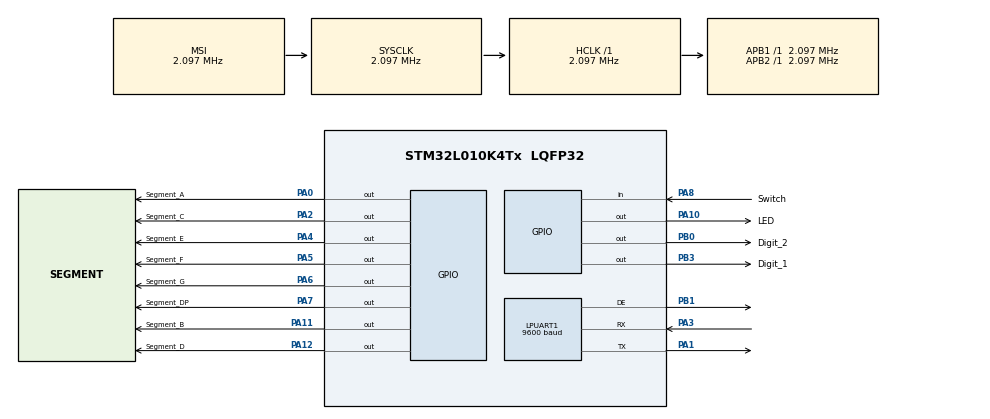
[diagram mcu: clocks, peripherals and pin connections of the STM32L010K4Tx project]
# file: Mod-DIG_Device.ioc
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LPUART1.BaudRate=9600
LPUART1.WordLength=UART_WORDLENGTH_8B
Mcu.Family=STM32L0
Mcu.Name=STM32L010K4Tx
Mcu.Package=LQFP32
NVIC.LPUART1_IRQn=true\:0\:0\:false\:false\:true\:true\:true\:true
PA0-CK_IN.GPIO_Label=Segment_A
PA0-CK_IN.Signal=GPIO_Output
PA1.Mode=Asynchronous
PA1.Signal=LPUART1_TX
PA10.GPIO_Label=LED
PA10.Signal=GPIO_Output
PA11.GPIO_Label=Segment_B
PA11.Signal=GPIO_Output
PA12.GPIO_Label=Segment_D
PA12.Signal=GPIO_Output
PA13.Mode=Serial_Wire
PA13.Signal=SYS_SWDIO
PA14.Mode=Serial_Wire
PA14.Signal=SYS_SWCLK
PA2.GPIO_Label=Segment_C
PA2.Signal=GPIO_Output
PA3.Mode=Asynchronous
PA3.Signal=LPUART1_RX
PA4.GPIO_Label=Segment_E
PA4.Signal=GPIO_Output
PA5.GPIO_Label=Segment_F
PA5.Signal=GPIO_Output
PA6.GPIO_Label=Segment_G
PA6.Signal=GPIO_Output
PA7.GPIO_Label=Segment_DP
PA7.Signal=GPIO_Output
PA8.GPIO_Label=Switch
PA8.Signal=GPIO_Input
PB0.GPIO_Label=Digit_2
PB0.Signal=GPIO_Output
PB1.Mode=Hardware Flow Control (RS485)
PB1.Signal=LPUART1_DE
PB3.GPIO_Label=Digit_1
PB3.Signal=GPIO_Output
ProjectManager.HeapSize=0x200
ProjectManager.StackSize=0x400
ProjectManager.TargetToolchain=EWARM V8.32
RCC.AHBFreq_Value=2097000
RCC.APB1Freq_Value=2097000
RCC.APB1TimFreq_Value=2097000
RCC.APB2Freq_Value=2097000
RCC.APB2TimFreq_Value=2097000
RCC.HSE_VALUE=8000000
RCC.HSI16_VALUE=16000000
RCC.HSI_VALUE=16000000
RCC.LSE_VALUE=32768
RCC.MSI_VALUE=2097000
RCC.SYSCLKFreq_VALUE=2097000
RCC.VCOOutputFreq_Value=48000000
board=custom

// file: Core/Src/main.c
/* USER CODE BEGIN Header */
/**
  ******************************************************************************
  * @file           : main.c
  * @brief          : Main program body
  ******************************************************************************
  * @attention
  *
  * <h2><center>&copy; Copyright (c) 2022 STMicroelectronics.
  * All rights reserved.</center></h2>
  *
  * This software component is licensed by ST under BSD 3-Clause license,
  * the "License"; You may not use this file except in compliance with the
  * License. You may obtain a copy of the License at:
  *                        opensource.org/licenses/BSD-3-Clause
  *
  ******************************************************************************
  */
/* USER CODE END Header */
#include "main.h"

/* USER CODE BEGIN Includes */
#include "scheduler.h"
#include "serial_user.h"
/* USER CODE END Includes */

UART_HandleTypeDef hlpuart1;

/* USER CODE BEGIN PV */
// scheduler stuff
extern uint8_t ten_mS_Flag;
extern uint8_t twentyfive_mS_Flag;
extern uint8_t hundred_mS_Flag;
extern uint8_t one_S_Flag;

// Keyboard
uint8_t button = true;
uint8_t lastButton = true;

// Seven Segment Stuff
volatile uint8_t segmentNumber = 0;
volatile uint8_t digitToggle = 0;

uint8_t digit1Value = 0;
uint8_t digit2Value = 0;
uint8_t digit1Segments = 0;
uint8_t digit2Segments = 0;
const uint8_t Num_2_Seg[16] = {0xFC, 0x60, 0xDA, 0xF2, 0x66, 0xB6, 0xBE, 0xE0, 0xFE, 0xF6, 0xEE, 0x3E, 0x9C, 0x7A, 0x9E, 0x8E};
uint8_t dpOn = 0;

// variables
uint8_t counter = 0;

// UART Test
uint8_t charCounter = 0;
uint8_t char2Send[2] = {0, 0};

/* USER CODE END PV */

void SystemClock_Config(void);
static void MX_GPIO_Init(void);
static void MX_LPUART1_UART_Init(void);
/* USER CODE BEGIN PFP */
void ParseToDigits(uint8_t _value, uint8_t _dpStatus);
void UpdateDisplay(void);
void InitSevenSegDisplay(void);

/* USER CODE END PFP */

int main(void)
{

  /* MCU Configuration--------------------------------------------------------*/

  /* Reset of all peripherals, Initializes the Flash interface and the Systick. */
  HAL_Init();

  /* Configure the system clock */
  SystemClock_Config();

  /* Initialize all configured peripherals */
  MX_GPIO_Init();
  MX_LPUART1_UART_Init();
  /* USER CODE BEGIN 2 */

  LL_LPUART_EnableIT_RXNE(LPUART1);

  /* USER CODE END 2 */

  /* Infinite loop */
  /* USER CODE BEGIN WHILE */
  while (1)
  {
    //---------------------------------
    // 10mS Tasks
    if (ten_mS_Flag) {
      ten_mS_Flag = false;

#if(!seg_test)
      UpdateDisplay();
#endif
    }  // end of 10mS Tasks
    //---------------------------------

    //---------------------------------
    // 25mS Tasks
    if (twentyfive_mS_Flag) {
      twentyfive_mS_Flag = false;

    }  // end of 25mS Tasks
    //---------------------------------

    //---------------------------------
    // 100mS Tasks
    if (hundred_mS_Flag) {
      hundred_mS_Flag = false;

      button = HAL_GPIO_ReadPin(SW_IN);
      if ((button == 0) && (lastButton == 1)) {
        // do some stuff...
        dpOn++;
        if (dpOn >= 4)
          dpOn = 0;
      }

      lastButton = button;

    }  // end of 100mS Tasks
    //---------------------------------

    //---------------------------------
    // 1 Sec Tasks
    if (one_S_Flag) {
      one_S_Flag = false;

//      HAL_GPIO_TogglePin(GPIOA,GPIO_PIN_10);
      HAL_GPIO_TogglePin(LED_OUT);

#if (seg_test)
      digitToggle ^= 1;

      if (digitToggle == 1) {
        HAL_GPIO_WritePin(Digit_1, Digit_ON);
        HAL_GPIO_WritePin(Digit_2, Digit_OFF);
      }
      else {
        HAL_GPIO_WritePin(Digit_1, Digit_OFF);
        HAL_GPIO_WritePin(Digit_2, Digit_ON);
      }

      if (digitToggle == 1) {
        switch (segmentNumber) {
        case 0:
          HAL_GPIO_WritePin(Seg_A, Seg_ON);
          HAL_GPIO_WritePin(Seg_DP, Seg_OFF);
          break;
        case 1:
          HAL_GPIO_WritePin(Seg_B, Seg_ON);
          HAL_GPIO_WritePin(Seg_A, Seg_OFF);
          break;
        case 2:
          HAL_GPIO_WritePin(Seg_C, Seg_ON);
          HAL_GPIO_WritePin(Seg_B, Seg_OFF);
          break;
        case 3:
          HAL_GPIO_WritePin(Seg_D, Seg_ON);
          HAL_GPIO_WritePin(Seg_C, Seg_OFF);
          break;
        case 4:
          HAL_GPIO_WritePin(Seg_E, Seg_ON);
          HAL_GPIO_WritePin(Seg_D, Seg_OFF);
          break;
        case 5:
          HAL_GPIO_WritePin(Seg_F, Seg_ON);
          HAL_GPIO_WritePin(Seg_E, Seg_OFF);
          break;
        case 6:
          HAL_GPIO_WritePin(Seg_G, Seg_ON);
          HAL_GPIO_WritePin(Seg_F, Seg_OFF);
          break;
        case 7:
          HAL_GPIO_WritePin(Seg_DP, Seg_ON);
          HAL_GPIO_WritePin(Seg_G, Seg_OFF);
          break;
        }

        segmentNumber++;
        if (segmentNumber >= 8) segmentNumber = 0;
      }
#else
      counter++;

      ParseToDigits(counter, dpOn);
#endif

//      char2Send[0] = charCounter++ + 0x40;
//      HAL_UART_Transmit(&hlpuart1, char2Send, 1, 1000);
//
//      if (charCounter > 0x3A) {
//        charCounter = 0;
//        char2Send[0] = '\n';
//        HAL_UART_Transmit(&hlpuart1, char2Send, 1, 1000);
//      }

    } // end of 1Sec Tasks
    //---------------------------------

    //---------------------------------
    // Every time through the loop

    // end Every time through the loop
    //---------------------------------
    /* USER CODE END WHILE */

  }
}

void SystemClock_Config(void)
{
  RCC_OscInitTypeDef RCC_OscInitStruct = {0};
  RCC_ClkInitTypeDef RCC_ClkInitStruct = {0};
  RCC_PeriphCLKInitTypeDef PeriphClkInit = {0};

  /** Configure the main internal regulator output voltage
  */
  __HAL_PWR_VOLTAGESCALING_CONFIG(PWR_REGULATOR_VOLTAGE_SCALE1);
  /** Initializes the RCC Oscillators according to the specified parameters
  * in the RCC_OscInitTypeDef structure.
  */
  RCC_OscInitStruct.OscillatorType = RCC_OSCILLATORTYPE_MSI;
  RCC_OscInitStruct.MSIState = RCC_MSI_ON;
  RCC_OscInitStruct.MSICalibrationValue = 0;
  RCC_OscInitStruct.MSIClockRange = RCC_MSIRANGE_5;
  RCC_OscInitStruct.PLL.PLLState = RCC_PLL_NONE;
  if (HAL_RCC_OscConfig(&RCC_OscInitStruct) != HAL_OK)
  {
    Error_Handler();
  }
  /** Initializes the CPU, AHB and APB buses clocks
  */
  RCC_ClkInitStruct.ClockType = RCC_CLOCKTYPE_HCLK|RCC_CLOCKTYPE_SYSCLK
                              |RCC_CLOCKTYPE_PCLK1|RCC_CLOCKTYPE_PCLK2;
  RCC_ClkInitStruct.SYSCLKSource = RCC_SYSCLKSOURCE_MSI;
  RCC_ClkInitStruct.AHBCLKDivider = RCC_SYSCLK_DIV1;
  RCC_ClkInitStruct.APB1CLKDivider = RCC_HCLK_DIV1;
  RCC_ClkInitStruct.APB2CLKDivider = RCC_HCLK_DIV1;

  if (HAL_RCC_ClockConfig(&RCC_ClkInitStruct, FLASH_LATENCY_0) != HAL_OK)
  {
    Error_Handler();
  }
  PeriphClkInit.PeriphClockSelection = RCC_PERIPHCLK_LPUART1;
  PeriphClkInit.Lpuart1ClockSelection = RCC_LPUART1CLKSOURCE_PCLK1;
  if (HAL_RCCEx_PeriphCLKConfig(&PeriphClkInit) != HAL_OK)
  {
    Error_Handler();
  }
}

static void MX_LPUART1_UART_Init(void)
{

  hlpuart1.Instance = LPUART1;
  hlpuart1.Init.BaudRate = 9600;
  hlpuart1.Init.WordLength = UART_WORDLENGTH_8B;
  hlpuart1.Init.StopBits = UART_STOPBITS_1;
  hlpuart1.Init.Parity = UART_PARITY_NONE;
  hlpuart1.Init.Mode = UART_MODE_TX_RX;
  hlpuart1.Init.HwFlowCtl = UART_HWCONTROL_NONE;
  hlpuart1.Init.OneBitSampling = UART_ONE_BIT_SAMPLE_DISABLE;
  hlpuart1.AdvancedInit.AdvFeatureInit = UART_ADVFEATURE_NO_INIT;
  if (HAL_RS485Ex_Init(&hlpuart1, UART_DE_POLARITY_HIGH, 0, 0) != HAL_OK)
  {
    Error_Handler();
  }

}

static void MX_GPIO_Init(void)
{
  GPIO_InitTypeDef GPIO_InitStruct = {0};

  /* GPIO Ports Clock Enable */
  __HAL_RCC_GPIOA_CLK_ENABLE();
  __HAL_RCC_GPIOB_CLK_ENABLE();

  /*Configure GPIO pin Output Level */
  HAL_GPIO_WritePin(GPIOA, Segment_A_Pin|Segment_C_Pin|Segment_E_Pin|Segment_F_Pin
                          |Segment_G_Pin|Segment_DP_Pin|LED_Pin|Segment_B_Pin
                          |Segment_D_Pin, GPIO_PIN_RESET);

  /*Configure GPIO pin Output Level */
  HAL_GPIO_WritePin(GPIOB, Digit_2_Pin|Digit_1_Pin, GPIO_PIN_RESET);

  /*Configure GPIO pins : Segment_A_Pin Segment_C_Pin Segment_E_Pin Segment_F_Pin
                           Segment_G_Pin Segment_DP_Pin LED_Pin Segment_B_Pin
                           Segment_D_Pin */
  GPIO_InitStruct.Pin = Segment_A_Pin|Segment_C_Pin|Segment_E_Pin|Segment_F_Pin
                          |Segment_G_Pin|Segment_DP_Pin|LED_Pin|Segment_B_Pin
                          |Segment_D_Pin;
  GPIO_InitStruct.Mode = GPIO_MODE_OUTPUT_PP;
  GPIO_InitStruct.Pull = GPIO_NOPULL;
  GPIO_InitStruct.Speed = GPIO_SPEED_FREQ_LOW;
  HAL_GPIO_Init(GPIOA, &GPIO_InitStruct);

  /*Configure GPIO pins : Digit_2_Pin Digit_1_Pin */
  GPIO_InitStruct.Pin = Digit_2_Pin|Digit_1_Pin;
  GPIO_InitStruct.Mode = GPIO_MODE_OUTPUT_PP;
  GPIO_InitStruct.Pull = GPIO_NOPULL;
  GPIO_InitStruct.Speed = GPIO_SPEED_FREQ_LOW;
  HAL_GPIO_Init(GPIOB, &GPIO_InitStruct);

  /*Configure GPIO pin : Switch_Pin */
  GPIO_InitStruct.Pin = Switch_Pin;
  GPIO_InitStruct.Mode = GPIO_MODE_INPUT;
  GPIO_InitStruct.Pull = GPIO_NOPULL;
  HAL_GPIO_Init(Switch_GPIO_Port, &GPIO_InitStruct);

}

/* USER CODE BEGIN 4 */
void InitSevenSegDisplay(void)
{
  // reset digit drives...
  HAL_GPIO_WritePin(Digit_1, Digit_OFF);
  HAL_GPIO_WritePin(Digit_2, Digit_OFF);

  // ...and segment drives
  HAL_GPIO_WritePin(Seg_A, Seg_OFF);
  HAL_GPIO_WritePin(Seg_B, Seg_OFF);
  HAL_GPIO_WritePin(Seg_C, Seg_OFF);
  HAL_GPIO_WritePin(Seg_D, Seg_OFF);
  HAL_GPIO_WritePin(Seg_E, Seg_OFF);
  HAL_GPIO_WritePin(Seg_F, Seg_OFF);
  HAL_GPIO_WritePin(Seg_G, Seg_OFF);
  HAL_GPIO_WritePin(Seg_DP, Seg_OFF);
}

void ParseToDigits(uint8_t _value, uint8_t _dpStatus)
{
  digit1Value = _value % 16;
  digit2Value = _value / 16;

  digit1Segments = Num_2_Seg[digit1Value];
  digit2Segments = Num_2_Seg[digit2Value];

  switch (_dpStatus) {
  case 0: // no DP
    break;
  case 1: // dp first digit
    digit1Segments |= 0x01;
    break;
  case 2: // dp second digit
    digit2Segments |= 0x01;
    break;
  case 3: // dp both digits
    digit1Segments |= 0x01;
    digit2Segments |= 0x01;
    break;
  default:
    break;
  }
}

void UpdateDisplay(void)
{
  uint8_t mask = 0x80;
  static uint8_t activeDigit = 0;

  activeDigit ^= 1;

  if (activeDigit == 1) {
    HAL_GPIO_WritePin(Digit_2, Digit_OFF);

    HAL_GPIO_WritePin(Seg_A, (digit1Segments & mask) ? Seg_ON : Seg_OFF);
    mask >>= 1;
    HAL_GPIO_WritePin(Seg_B, (digit1Segments & mask) ? Seg_ON : Seg_OFF);
    mask >>= 1;
    HAL_GPIO_WritePin(Seg_C, (digit1Segments & mask) ? Seg_ON : Seg_OFF);
    mask >>= 1;
    HAL_GPIO_WritePin(Seg_D, (digit1Segments & mask) ? Seg_ON : Seg_OFF);
    mask >>= 1;
    HAL_GPIO_WritePin(Seg_E, (digit1Segments & mask) ? Seg_ON : Seg_OFF);
    mask >>= 1;
    HAL_GPIO_WritePin(Seg_F, (digit1Segments & mask) ? Seg_ON : Seg_OFF);
    mask >>= 1;
    HAL_GPIO_WritePin(Seg_G, (digit1Segments & mask) ? Seg_ON : Seg_OFF);
    mask >>= 1;
    HAL_GPIO_WritePin(Seg_DP, (digit1Segments & mask) ? Seg_ON : Seg_OFF);

    HAL_GPIO_WritePin(Digit_1, Digit_ON);
  }
  else {
    HAL_GPIO_WritePin(Digit_1, Digit_OFF);

    HAL_GPIO_WritePin(Seg_A, (digit2Segments & mask) ? Seg_ON : Seg_OFF);
    mask >>= 1;
    HAL_GPIO_WritePin(Seg_B, (digit2Segments & mask) ? Seg_ON : Seg_OFF);
    mask >>= 1;
    HAL_GPIO_WritePin(Seg_C, (digit2Segments & mask) ? Seg_ON : Seg_OFF);
    mask >>= 1;
    HAL_GPIO_WritePin(Seg_D, (digit2Segments & mask) ? Seg_ON : Seg_OFF);
    mask >>= 1;
    HAL_GPIO_WritePin(Seg_E, (digit2Segments & mask) ? Seg_ON : Seg_OFF);
    mask >>= 1;
    HAL_GPIO_WritePin(Seg_F, (digit2Segments & mask) ? Seg_ON : Seg_OFF);
    mask >>= 1;
    HAL_GPIO_WritePin(Seg_G, (digit2Segments & mask) ? Seg_ON : Seg_OFF);
    mask >>= 1;
    HAL_GPIO_WritePin(Seg_DP, (digit2Segments & mask) ? Seg_ON : Seg_OFF);

    HAL_GPIO_WritePin(Digit_2, Digit_ON);
  }
}

/* USER CODE END 4 */

void Error_Handler(void)
{
  __disable_irq();
  while (1)
  {
  }
}

/************************ (C) COPYRIGHT STMicroelectronics *****END OF FILE****/
